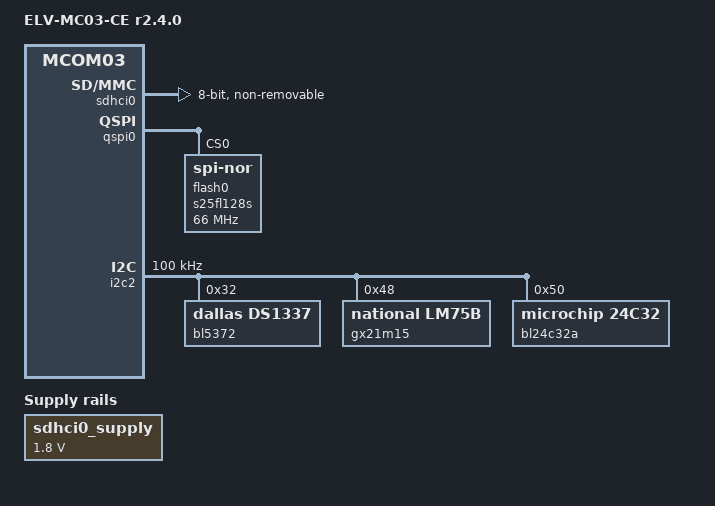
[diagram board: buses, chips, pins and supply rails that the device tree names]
// SPDX-License-Identifier: GPL-2.0+
/*
 * Copyright 2023 RnD Center "ELVEES", JSC
 */

/dts-v1/;

#include "mcom03.dtsi"

/ {
	model = "ELV-MC03-CE r2.4.0";
	compatible = "elvees,elvmc03ce-r2.4.0",
		     "elvees,elvmc03ce",
		     "elvees,mcom03";

	sdhci0_supply: regulator@0 {
		compatible = "regulator-fixed";
		regulator-name = "sdhci0-supply";
		regulator-min-microvolt = <1800000>;
		regulator-max-microvolt = <1800000>;
		regulator-always-on;
	};
};

/* Connected to eMMC */
&sdhci0 {
	status = "okay";

	non-removable;
	bus-width = <8>;

	vqmmc-supply = <&sdhci0_supply>;
};

&qspi0 {
	status = "okay";

	flash0: s25fl128s@0 {
		#address-cells = <1>;
		#size-cells = <1>;
		compatible = "jedec,spi-nor", "spi-flash";
		reg = <0x0>;
		/* This is the highest frequency at which all commands are
		 * supported by the flash device.
		 */
		spi-max-frequency = <66000000>;
		m25p,fast-read;
	};
};

&i2c2 {
	/* Not all devices are checked to 400kHz support */
	clock-frequency = <100000>;
	status = "okay";

	bl5372: rtc@32 {
		compatible = "dallas,ds1337";
		reg = <0x32>;
	};

	gx21m15: temperature-sensor@48 {
		compatible = "national,lm75b";
		reg = <0x48>;
	};

	bl24c32a: eeprom@50 {
		compatible = "microchip,24c32", "atmel,24c32";
		reg = <0x50>;
	};
};

/* PCIe0 is connected to SATA controller. */
sata: &pcie0 { };
